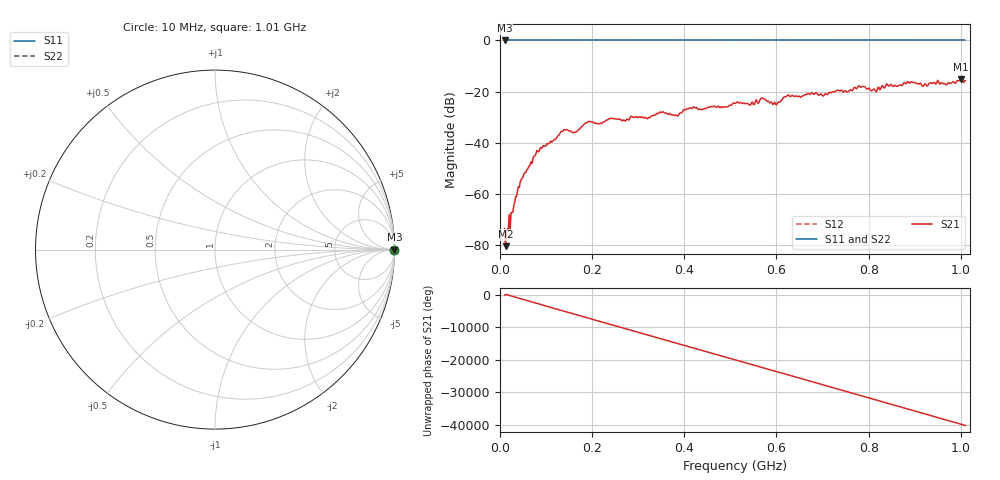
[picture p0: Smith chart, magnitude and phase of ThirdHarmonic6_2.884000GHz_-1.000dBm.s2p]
! 8/17/2025 7:55:18 AM
! C:\ANRITSUVNA\TEMP\TEMP.S2P
! CHANNEL.1
! TR.MEASUREMENT
! RAW.DATA
! RF.CORRECTION.OFF
! AVERAGING.OFF
! IF.BANDWIDTH: 5KHZ
! SWEEPTYPE:  FREQ.SWEEP(Linear)
! Reference Plane Port Info
! PORT:  PORT1  PORT2
! DISTANCE:  0  m  0  m
! TIME:  0  s  0  s
! PHASE.OFFSET:  0  deg.  0  deg.
! LOSS:  0  dB  0  dB
! REF.LOSS:  0  dB  0  dB
! REF.FREQ:  0  Hz  0  Hz
! Power Info
! POWER:  -20  dBm  -20  dBm
! EFF.POWER:  -20  dBm  -20  dBm
! SOURCE.ATTEN:  0  dB  0  dB
! TEST.ATTEN:  0  dB  0  dB
# GHZ S RI R 50.0
! FREQ.GHZ  S11RE  S11IM  S21RE  S21IM  S12RE  S12IM  S22RE  S22IM
!; PortSelection: Port_12
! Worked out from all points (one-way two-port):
!   501 points, 10 MHz to 1.01 GHz, reference 50 ohm
!   highest |S21| = -15.24 dB at 1 GHz (marker M1); lowest = -80.6 dB at 12 MHz (marker M2)
!   lowest |S11| = 0.0 dB at 10 MHz (marker M3)
!   |S11| at or under -10 dB: nowhere
!   |S22| runs from 0.0 to 0.0 dB; largest |S21 - S12| = 1.2
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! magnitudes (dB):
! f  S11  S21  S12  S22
! 10 MHz  0.0  -73.7  0.0  0.0
! 12 MHz  0.0  -80.6  0.0  0.0
! 18 MHz  0.0  -74.6  0.0  0.0
! 44 MHz  0.0  -55.3  0.0  0.0
! 76 MHz  0.0  -45.1  0.0  0.0
! 136 MHz  0.0  -35.6  0.0  0.0
! 162 MHz  0.0  -36.1  0.0  0.0
! 178 MHz  0.0  -33.7  0.0  0.0
! 344 MHz  0.0  -28.6  0.0  0.0
! 382 MHz  0.0  -29.2  0.0  0.0
! 416 MHz  0.0  -26.7  0.0  0.0
! 510 MHz  0.0  -24.6  0.0  0.0
! 548 MHz  0.0  -24.1  0.0  0.0
! 570 MHz  0.0  -22.6  0.0  0.0
! 596 MHz  0.0  -24.2  0.0  0.0
! 622 MHz  0.0  -21.8  0.0  0.0
! 678 MHz  0.0  -20.6  0.0  0.0
! 782 MHz  0.0  -18.3  0.0  0.0
! 814 MHz  0.0  -19.5  0.0  0.0
! 844 MHz  0.0  -17.9  0.0  0.0
! 1 GHz  0.0  -15.2  0.0  0.0
! 1.01 GHz  0.0  -15.8  0.0  0.0
